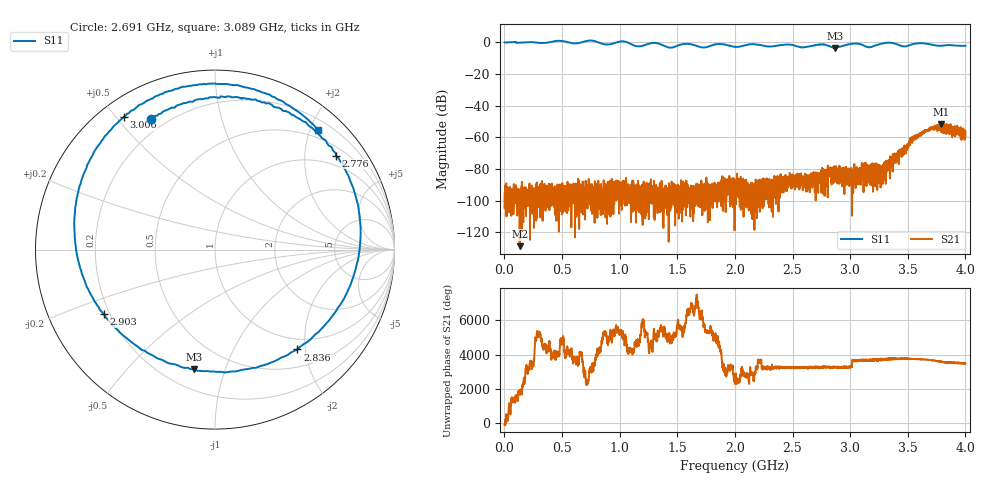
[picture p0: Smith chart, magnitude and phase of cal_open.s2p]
!Created with skrf (http://scikit-rf.org).
# GHz S RI R 50.0
!freq ReS11 ImS11 ReS21 ImS21 ReS12 ImS12 ReS22 ImS22
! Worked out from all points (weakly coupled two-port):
!   4000 points, 1 MHz to 4 GHz, reference 50 ohm
!   highest |S21| = -51.60 dB at 3.786 GHz (marker M1); lowest = -128.9 dB at 132 MHz (marker M2)
!   lowest |S11| = -3.4 dB at 2.866 GHz (marker M3), VSWR 5.16, Z = 16.1 - j39.4 ohm
!   |S11| at or under -10 dB: nowhere
!   S12 and S22 are empty: the file has one direction only
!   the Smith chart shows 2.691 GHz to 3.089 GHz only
!   S11 on the Smith chart (normalised r, x): 2.691 GHz: 0.14, +0.61; 2.776 GHz: 0.71, +2.76; 2.836 GHz: 0.80, -1.85; 2.903 GHz: 0.18, -0.26; 3.006 GHz: 0.07, +0.52; 3.089 GHz: 0.35, +2.14
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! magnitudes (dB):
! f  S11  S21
! 1 MHz  0.0  -95.2
! 132 MHz  -0.2  -128.9
! 668 MHz  0.0  -107.5
! 1.03 GHz  0.7  -94.4
! 1.163 GHz  -2.5  -102.4
! 1.334 GHz  -0.6  -102.7
! 1.437 GHz  -3.3  -92.1
! 1.575 GHz  -0.8  -103.2
! 2.001 GHz  -2.8  -87.8
! 2.667 GHz  -2.2  -84.9
! 2.691 GHz  -1.8  -82.4
! 2.776 GHz  -1.4  -84.2
! 2.836 GHz  -2.8  -81.9
! 2.866 GHz  -3.4  -84.7
! 2.903 GHz  -2.9  -80.9
! 3.006 GHz  -0.9  -85.5
! 3.089 GHz  -1.1  -82.9
! 3.168 GHz  -3.0  -80.7
! 3.334 GHz  -0.2  -80.8
! 3.546 GHz  -1.0  -60.2
! 3.786 GHz  -2.1  -51.6
! 4 GHz  -2.1  -59.2
